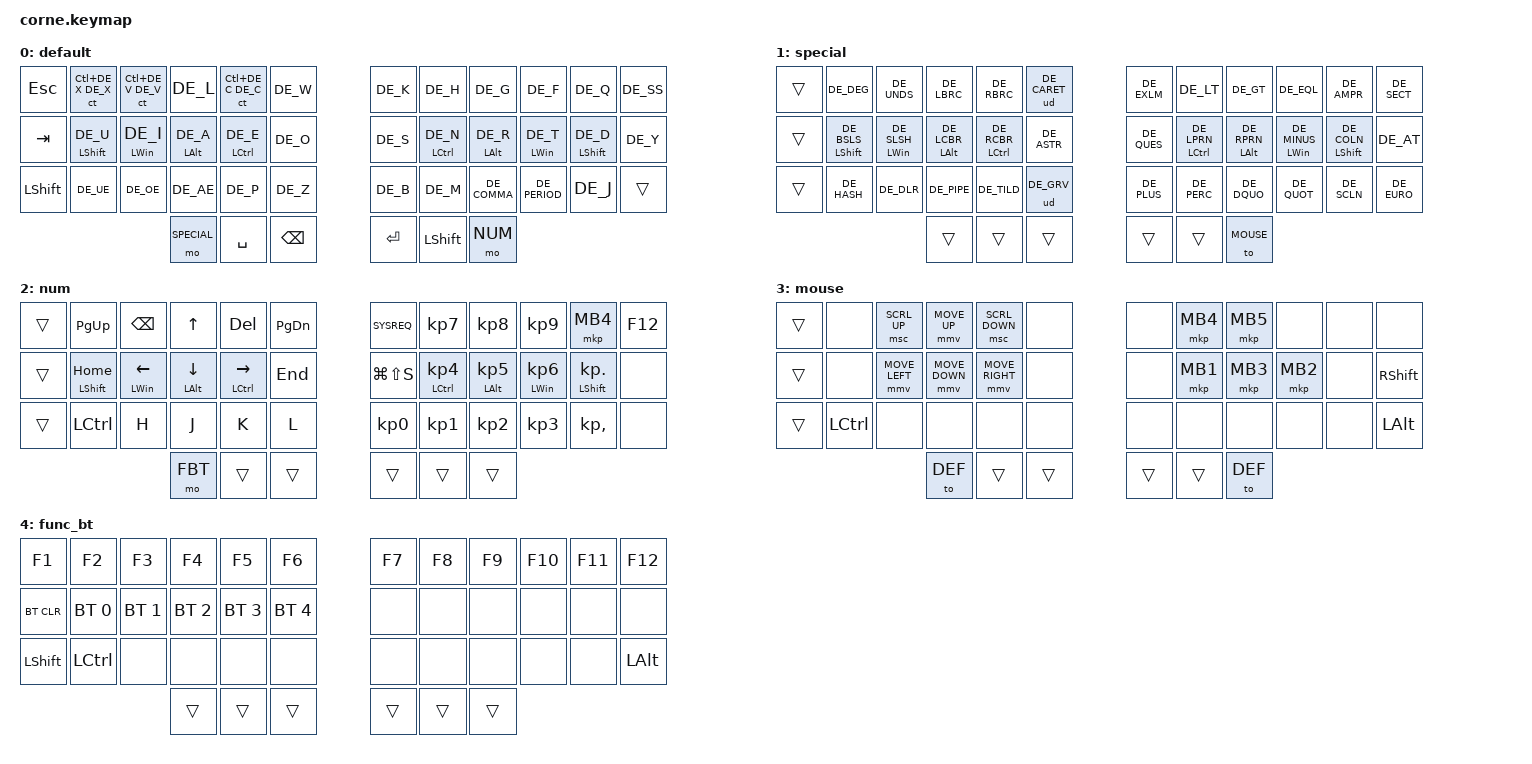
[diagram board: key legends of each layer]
/*
 * Copyright (c) 2020 The ZMK Contributors
 *
 * SPDX-License-Identifier: MIT
 */

#include <behaviors.dtsi>
#include <dt-bindings/zmk/bt.h>
#include <dt-bindings/zmk/mouse.h>
#include <dt-bindings/zmk/keys.h>
#include <dt-bindings/zmk/pointing.h>

#include "../zmk-nodefree-config/helper.h"
#include "../zmk-nodefree-config/keypos_def/keypos_42keys.h"
#include "../zmk-nodefree-config/keypos_map/ger_symbols.h"


/* layer and key shortcuts */

#define ___ &trans

#define NUM1 KP_NUMBER_1
#define NUM2 KP_NUMBER_2 
#define NUM3 KP_NUMBER_3
#define NUM4 KP_NUMBER_4
#define NUM5 KP_NUMBER_5 
#define NUM6 KP_NUMBER_6 
#define NUM7 KP_NUMBER_7 
#define NUM8 KP_NUMBER_8 
#define NUM9 KP_NUMBER_9 
#define NUM0 KP_NUMBER_0 

#define DEF 0  // layer shortcuts, must match order in which they are defined below
#define SPECIAL 1
#define NUM 2
#define MOUSE 3
#define FBT 4

// Homerow mod timing (matches Glove80)
#define HM_TAPPING_TERM 280
#define HM_QUICK_TAP    175

/* custom behaviors */

// control-tap-behavior (used for Ctrl-on-hold shortcuts, e.g. X/V/C on the default layer)
ZMK_BEHAVIOR(ct, hold_tap,
    flavor = "tap-preferred";
    tapping-term-ms = <200>;
    bindings = <&kp>, <&kp>;
)

// homerow mods, left hand
ZMK_BEHAVIOR(hm_l, hold_tap,
    flavor = "balanced";
    tapping-term-ms = <HM_TAPPING_TERM>;
    quick-tap-ms = <HM_QUICK_TAP>;
    require-prior-idle-ms = <150>;
    bindings = <&kp>, <&kp>;
    hold-trigger-key-positions = <6 7 8 9 10 11 18 19 20 21 22 23 30 31 32 33 34 35 39 40 41>;
    hold-trigger-on-release;
)

// homerow mods, right hand
ZMK_BEHAVIOR(hm_r, hold_tap,
    flavor = "balanced";
    tapping-term-ms = <HM_TAPPING_TERM>;
    quick-tap-ms = <HM_QUICK_TAP>;
    require-prior-idle-ms = <150>;
    bindings = <&kp>, <&kp>;
    hold-trigger-key-positions = <0 1 2 3 4 5 12 13 14 15 16 17 24 25 26 27 28 29 36 37 38>;
    hold-trigger-on-release;
)

/* combos */

// NUMLOCK
ZMK_COMBO(numlock_combo,  &kp KP_NLCK, 31 34, NUM, 25)

/* macros */

// undead DE_CARET and DE_GRV
ZMK_BEHAVIOR(ud, macro_one_param,
	bindings = <&macro_param_1to1>, <&kp MACRO_PLACEHOLDER &kp SPACE>;
)


#define CTAP(keycode) &ct LC(keycode) keycode

ZMK_LAYER(default,
     // ╭─────────────┬─────────────┬─────────────┬─────────────┬─────────────┬─────────────╮   ╭─────────────┬─────────────┬─────────────┬─────────────┬─────────────┬─────────────╮
          &kp ESC        &ct LC(DE_X) DE_X &ct LC(DE_V) DE_V &kp DE_L &ct LC(DE_C) DE_C &kp DE_W    &kp DE_K      &kp DE_H      &kp DE_G      &kp DE_F      &kp DE_Q      &kp DE_SS 
     // ├─────────────┼─────────────┼─────────────┼─────────────┼─────────────┼─────────────┤   ├─────────────┼─────────────┼─────────────┼─────────────┼─────────────┼─────────────┤
          &kp TAB      &hm_l LSHIFT DE_U &hm_l LWIN DE_I &hm_l LALT DE_A &hm_l LCTRL DE_E &kp DE_O   &kp DE_S    &hm_r LCTRL DE_N &hm_r LALT DE_R  &hm_r LWIN DE_T &hm_r LSHIFT DE_D &kp DE_Y     
     // ├─────────────┼─────────────┼─────────────┼─────────────┼─────────────┼─────────────┤   ├─────────────┼─────────────┼─────────────┼─────────────┼─────────────┼─────────────┤
          &kp LSHIFT     &kp DE_UE   &kp DE_OE      &kp DE_AE     &kp DE_P       &kp DE_Z          &kp DE_B      &kp DE_M     &kp DE_COMMA   &kp DE_PERIOD &kp DE_J      ___ 
     // ╰─────────────┼─────────────┼─────────────┼─────────────┼─────────────┼─────────────┤   ├─────────────┼─────────────┼─────────────┼─────────────┼─────────────┼─────────────┤
                                                    &mo SPECIAL   &kp SPACE      &kp BSPC          &kp RETURN   &kp LSHIFT    &mo NUM
     //                                           ╰─────────────┴─────────────┴─────────────╯   ╰─────────────┴─────────────┴─────────────╯
)

ZMK_LAYER(special,
     // ╭─────────────┬─────────────┬─────────────┬─────────────┬─────────────┬─────────────╮   ╭─────────────┬─────────────┬─────────────┬─────────────┬─────────────┬─────────────╮
          ___           &kp DE_DEG    &kp DE_UNDS   &kp DE_LBRC   &kp DE_RBRC  &ud DE_CARET       &kp DE_EXLM   &kp DE_LT     &kp DE_GT     &kp DE_EQL    &kp DE_AMPR   &kp DE_SECT
     // ├─────────────┼─────────────┼─────────────┼─────────────┼─────────────┼─────────────┤   ├─────────────┼─────────────┼─────────────┼─────────────┼─────────────┼─────────────┤
          ___ &hm_l LSHIFT DE_BSLS &hm_l LWIN DE_SLSH &hm_l LALT DE_LCBR &hm_l LCTRL DE_RCBR &kp DE_ASTR &kp DE_QUES &hm_r LCTRL DE_LPRN &hm_r LALT DE_RPRN &hm_r LWIN DE_MINUS &hm_r LSHIFT DE_COLN &kp DE_AT
     // ├─────────────┼─────────────┼─────────────┼─────────────┼─────────────┼─────────────┤   ├─────────────┼─────────────┼─────────────┼─────────────┼─────────────┼─────────────┤
          ___           &kp DE_HASH   &kp DE_DLR    &kp DE_PIPE   &kp DE_TILD   &ud DE_GRV        &kp DE_PLUS   &kp DE_PERC   &kp DE_DQUO   &kp DE_QUOT   &kp DE_SCLN   &kp DE_EURO
     // ╰─────────────┼─────────────┼─────────────┼─────────────┼─────────────┼─────────────┤   ├─────────────┼─────────────┼─────────────┼─────────────┼─────────────┼─────────────┤
                                                    ___           ___           ___               ___           ___           &to MOUSE
     //                                           ╰─────────────┴─────────────┴─────────────╯   ╰─────────────┴─────────────┴─────────────╯
)

ZMK_LAYER(num,
     // ╭─────────────┬─────────────┬─────────────┬─────────────┬─────────────┬─────────────╮   ╭─────────────┬─────────────┬─────────────┬─────────────┬─────────────┬─────────────╮
          ___           &kp PG_UP     &kp BSPC      &kp UP        &kp DELETE    &kp PG_DN         &kp SYSREQ    &kp NUM7      &kp NUM8      &kp NUM9      &mkp MB4      &kp F12
     // ├─────────────┼─────────────┼─────────────┼─────────────┼─────────────┼─────────────┤   ├─────────────┼─────────────┼─────────────┼─────────────┼─────────────┼─────────────┤
          ___       &hm_l LSHIFT HOME &hm_l LWIN LEFT &hm_l LALT DOWN &hm_l LCTRL RIGHT  &kp END  &kp LG(LS(S)) &hm_r LCTRL NUM4 &hm_r LALT NUM5 &hm_r LWIN NUM6 &hm_r LSHIFT KP_DOT &none    
     // ├─────────────┼─────────────┼─────────────┼─────────────┼─────────────┼─────────────┤   ├─────────────┼─────────────┼─────────────┼─────────────┼─────────────┼─────────────┤
          ___           &kp LCTRL     &kp H         &kp J         &kp K         &kp L             &kp NUM0      &kp NUM1      &kp NUM2      &kp NUM3      &kp KP_COMMA  &none      
     // ╰─────────────┼─────────────┼─────────────┼─────────────┼─────────────┼─────────────┤   ├─────────────┼─────────────┼─────────────┼─────────────┼─────────────┼─────────────┤
                                                    &mo FBT       ___           ___               ___           ___           ___
     //                                           ╰─────────────┴─────────────┴─────────────╯   ╰─────────────┴─────────────┴─────────────╯
)

ZMK_LAYER(mouse,
     // ╭─────────────┬─────────────┬─────────────┬─────────────┬─────────────┬─────────────╮   ╭─────────────┬─────────────┬─────────────┬─────────────┬─────────────┬─────────────╮
          ___           &none         &msc SCRL_UP &mmv MOVE_UP  &msc SCRL_DOWN   &none             &none         &mkp MB4      &mkp MB5      &none         &none         &none
     // ├─────────────┼─────────────┼─────────────┼─────────────┼─────────────┼─────────────┤   ├─────────────┼─────────────┼─────────────┼─────────────┼─────────────┼─────────────┤
          ___           &none       &mmv MOVE_LEFT &mmv MOVE_DOWN &mmv MOVE_RIGHT &none             &none         &mkp MB1      &mkp MB3      &mkp MB2      &none       &kp RSHIFT    
     // ├─────────────┼─────────────┼─────────────┼─────────────┼─────────────┼─────────────┤   ├─────────────┼─────────────┼─────────────┼─────────────┼─────────────┼─────────────┤
          ___           &kp LCTRL     &none         &none         &none         &none               &none         &none         &none         &none         &none       &kp LALT      
     // ╰─────────────┼─────────────┼─────────────┼─────────────┼─────────────┼─────────────┤   ├─────────────┼─────────────┼─────────────┼─────────────┼─────────────┼─────────────┤
                                                    &to DEF        ___           ___               ___           ___           &to DEF
     //                                           ╰─────────────┴─────────────┴─────────────╯   ╰─────────────┴─────────────┴─────────────╯
)

ZMK_LAYER(func_bt,
     // ╭─────────────┬─────────────┬─────────────┬─────────────┬─────────────┬─────────────╮   ╭─────────────┬─────────────┬─────────────┬─────────────┬─────────────┬─────────────╮
          &kp F1        &kp F2        &kp F3        &kp F4        &kp F5        &kp F6            &kp F7        &kp F8        &kp F9        &kp F10       &kp F11       &kp F12 
     // ├─────────────┼─────────────┼─────────────┼─────────────┼─────────────┼─────────────┤   ├─────────────┼─────────────┼─────────────┼─────────────┼─────────────┼─────────────┤
          &bt BT_CLR    &bt BT_SEL 0  &bt BT_SEL 1  &bt BT_SEL 2  &bt BT_SEL 3  &bt BT_SEL 4      &none         &none         &none         &none         &none         &none 
     // ├─────────────┼─────────────┼─────────────┼─────────────┼─────────────┼─────────────┤   ├─────────────┼─────────────┼─────────────┼─────────────┼─────────────┼─────────────┤
          &kp LSHIFT    &kp LCTRL     &none         &none         &none         &none             &none         &none         &none         &none         &none         &kp LALT
     // ╰─────────────┼─────────────┼─────────────┼─────────────┼─────────────┼─────────────┤   ├─────────────┼─────────────┼─────────────┼─────────────┼─────────────┼─────────────┤
                                                    ___           ___           ___               ___           ___           ___
     //                                           ╰─────────────┴─────────────┴─────────────╯   ╰─────────────┴─────────────┴─────────────╯
)
